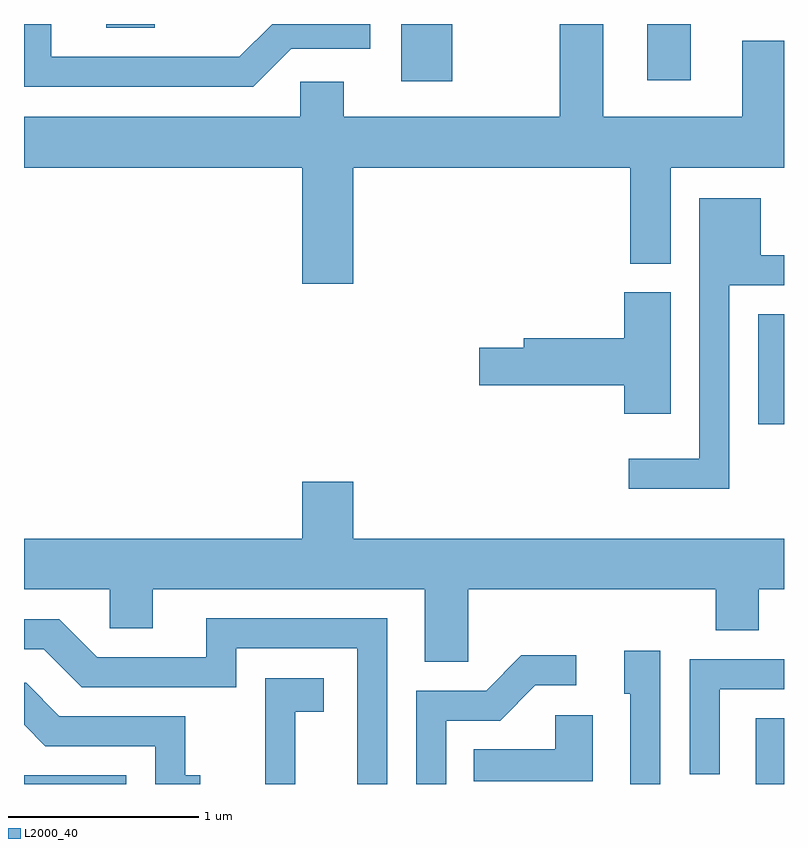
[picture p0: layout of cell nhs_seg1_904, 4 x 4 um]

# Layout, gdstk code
import gdstk
lib = gdstk.Library(unit=1e-6, precision=1e-09)
def R(c, l, rs):  # rectangles x0, y0, x1, y1
    for r in rs: c.add(gdstk.rectangle(r[:2], r[2:], *l))
def P(c, l, *ps):  # polygons
    for p in ps: c.add(gdstk.Polygon(p, *l))
L2000_40 = (2000, 40)

nhs_seg1_904 = lib.new_cell('nhs_seg1_904')
R(nhs_seg1_904, L2000_40, [(213.611,849.712,214.149,849.759), (217.461,849.712,217.611,850.059), (217.476,851.606,217.611,852.184), (215.596,853.411,215.864,853.712), (216.891,853.416,217.119,853.712), (214.043,853.691,214.299,853.712)])
P(nhs_seg1_904, L2000_40, [(215.344,852.956),(216.801,852.956),(216.801,852.451),(217.014,852.451),(217.014,852.956),(217.611,852.956),(217.611,853.624),(217.391,853.624),(217.391,853.224),(216.659,853.224),(216.659,853.712),(216.431,853.712),(216.431,853.224),(215.294,853.224),(215.294,853.409),(215.066,853.409),(215.066,853.224),(213.611,853.224),(213.611,852.956),(215.076,852.956),(215.076,852.346),(215.344,852.346)],
  [(215.017,853.581),(215.434,853.581),(215.434,853.712),(214.917,853.712),(214.744,853.539),(213.754,853.539),(213.754,853.712),(213.611,853.712),(213.611,853.381),(214.817,853.381)],
  [(217.324,852.336),(217.611,852.336),(217.611,852.494),(217.489,852.494),(217.489,852.794),(217.166,852.794),(217.166,851.424),(216.793,851.424),(216.793,851.266),(217.324,851.266)],
  [(217.014,852.299),(216.771,852.299),(216.771,852.059),(216.241,852.059),(216.241,852.009),(216.006,852.009),(216.006,851.811),(216.771,851.811),(216.771,851.661),(217.014,851.661)],
  [(215.949,850.736),(217.251,850.736),(217.251,850.521),(217.479,850.521),(217.479,850.736),(217.611,850.736),(217.611,851.004),(215.344,851.004),(215.344,851.304),(215.076,851.304),(215.076,851.004),(213.611,851.004),(213.611,850.736),(214.061,850.736),(214.061,850.531),(214.289,850.531),(214.289,850.736),(215.721,850.736),(215.721,850.356),(215.949,850.356)],
  [(215.524,850.584),(214.571,850.584),(214.571,850.379),(213.997,850.379),(213.797,850.579),(213.611,850.579),(213.611,850.421),(213.714,850.421),(213.914,850.221),(214.729,850.221),(214.729,850.426),(215.366,850.426),(215.366,849.712),(215.524,849.712)],
  [(216.959,850.414),(216.771,850.414),(216.771,850.186),(216.801,850.186),(216.801,849.712),(216.959,849.712)],
  [(215.834,850.046),(216.117,850.046),(216.302,850.231),(216.518,850.231),(216.518,850.389),(216.229,850.389),(216.044,850.204),(215.676,850.204),(215.676,849.712),(215.834,849.712)],
  [(217.274,850.211),(217.611,850.211),(217.611,850.369),(217.116,850.369),(217.116,849.763),(217.274,849.763)],
  [(215.039,850.091),(215.189,850.091),(215.189,850.269),(214.881,850.269),(214.881,849.712),(215.039,849.712)],
  [(214.538,849.759),(214.459,849.759),(214.459,850.069),(213.797,850.069),(213.622,850.244),(213.611,850.244),(213.611,850.024),(213.724,849.911),(214.301,849.911),(214.301,849.712),(214.538,849.712)],
  [(216.604,850.074),(216.406,850.074),(216.406,849.894),(215.978,849.894),(215.978,849.726),(216.604,849.726)])

lib.write_gds('nhs_seg1_904.gds')
